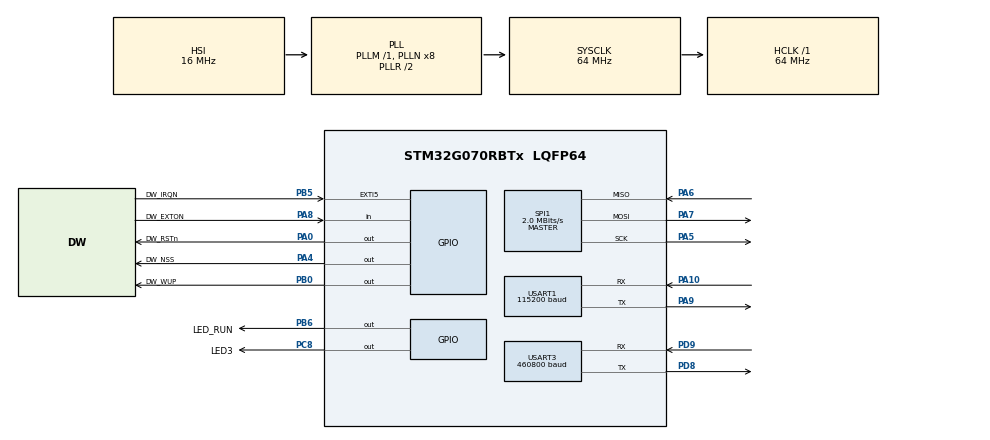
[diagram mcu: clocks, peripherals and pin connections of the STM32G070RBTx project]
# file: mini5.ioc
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Dma.Request0=USART1_TX
Dma.Request1=USART3_TX
Dma.USART1_TX.0.Direction=DMA_MEMORY_TO_PERIPH
Dma.USART1_TX.0.EventEnable=DISABLE
Dma.USART1_TX.0.Instance=DMA1_Channel2
Dma.USART1_TX.0.MemDataAlignment=DMA_MDATAALIGN_BYTE
Dma.USART1_TX.0.MemInc=DMA_MINC_ENABLE
Dma.USART1_TX.0.Mode=DMA_NORMAL
Dma.USART1_TX.0.PeriphDataAlignment=DMA_PDATAALIGN_BYTE
Dma.USART1_TX.0.PeriphInc=DMA_PINC_DISABLE
Dma.USART1_TX.0.Polarity=HAL_DMAMUX_REQ_GEN_RISING
Dma.USART1_TX.0.Priority=DMA_PRIORITY_LOW
Dma.USART1_TX.0.RequestNumber=1
Dma.USART1_TX.0.SignalID=NONE
Dma.USART1_TX.0.SyncEnable=DISABLE
Dma.USART1_TX.0.SyncPolarity=HAL_DMAMUX_SYNC_NO_EVENT
Dma.USART1_TX.0.SyncRequestNumber=1
Dma.USART1_TX.0.SyncSignalID=NONE
Dma.USART3_TX.1.Direction=DMA_MEMORY_TO_PERIPH
Dma.USART3_TX.1.EventEnable=DISABLE
Dma.USART3_TX.1.Instance=DMA1_Channel4
Dma.USART3_TX.1.MemDataAlignment=DMA_MDATAALIGN_BYTE
Dma.USART3_TX.1.MemInc=DMA_MINC_ENABLE
Dma.USART3_TX.1.Mode=DMA_NORMAL
Dma.USART3_TX.1.PeriphDataAlignment=DMA_PDATAALIGN_BYTE
Dma.USART3_TX.1.PeriphInc=DMA_PINC_DISABLE
Dma.USART3_TX.1.Polarity=HAL_DMAMUX_REQ_GEN_RISING
Dma.USART3_TX.1.Priority=DMA_PRIORITY_LOW
Dma.USART3_TX.1.RequestNumber=1
Dma.USART3_TX.1.SignalID=NONE
Dma.USART3_TX.1.SyncEnable=DISABLE
Dma.USART3_TX.1.SyncPolarity=HAL_DMAMUX_SYNC_NO_EVENT
Dma.USART3_TX.1.SyncRequestNumber=1
Dma.USART3_TX.1.SyncSignalID=NONE
IWDG.Prescaler=IWDG_PRESCALER_64
IWDG.Reload=1000
IWDG.Window=1000
Mcu.Family=STM32G0
Mcu.Name=STM32G070RBTx
Mcu.Package=LQFP64
NVIC.DMA1_Ch4_7_DMAMUX1_OVR_IRQn=true\:2\:0\:true\:false\:true\:false\:true
NVIC.DMA1_Channel2_3_IRQn=true\:2\:0\:true\:false\:true\:false\:true
NVIC.EXTI4_15_IRQn=true\:1\:0\:true\:false\:true\:true\:true
NVIC.TIM1_BRK_UP_TRG_COM_IRQn=true\:2\:0\:true\:false\:true\:true\:true
NVIC.TIM1_CC_IRQn=true\:2\:0\:true\:false\:true\:true\:true
NVIC.USART1_IRQn=true\:2\:0\:true\:false\:true\:true\:true
NVIC.USART3_4_IRQn=true\:2\:0\:true\:false\:true\:true\:true
PA0.GPIO_Label=DW_RSTn
PA0.GPIO_Speed=GPIO_SPEED_FREQ_HIGH
PA0.Signal=GPIO_Output
PA10.Mode=Asynchronous
PA10.Signal=USART1_RX
PA13.Mode=Serial_Wire
PA13.Signal=SYS_SWDIO
PA14-BOOT0.Mode=Serial_Wire
PA14-BOOT0.Signal=SYS_SWCLK
PA4.GPIO_Label=DW_NSS
PA4.GPIO_Speed=GPIO_SPEED_FREQ_HIGH
PA4.PinState=GPIO_PIN_SET
PA4.Signal=GPIO_Output
PA5.GPIO_Speed=GPIO_SPEED_FREQ_HIGH
PA5.Mode=Full_Duplex_Master
PA5.PinState=GPIO_PIN_SET
PA5.Signal=SPI1_SCK
PA6.GPIO_Speed=GPIO_SPEED_FREQ_HIGH
PA6.Mode=Full_Duplex_Master
PA6.PinState=GPIO_PIN_SET
PA6.Signal=SPI1_MISO
PA7.GPIO_Speed=GPIO_SPEED_FREQ_HIGH
PA7.Mode=Full_Duplex_Master
PA7.PinState=GPIO_PIN_SET
PA7.Signal=SPI1_MOSI
PA8.GPIO_Label=DW_EXTON
PA8.Signal=GPIO_Input
PA9.Mode=Asynchronous
PA9.Signal=USART1_TX
PB0.GPIO_Label=DW_WUP
PB0.GPIO_Speed=GPIO_SPEED_FREQ_HIGH
PB0.Signal=GPIO_Output
PB5.GPIO_Label=DW_IRQN
PB5.GPIO_ModeDefaultEXTI=GPIO_MODE_IT_RISING
PB5.GPIO_PuPd=GPIO_PULLDOWN
PB5.Signal=GPXTI5
PB6.GPIO_Label=LED_RUN
PB6.GPIO_Speed=GPIO_SPEED_FREQ_MEDIUM
PB6.Signal=GPIO_Output
PC8.GPIO_Label=LED3
PC8.GPIO_Speed=GPIO_SPEED_FREQ_MEDIUM
PC8.Signal=GPIO_Output
PD8.Mode=Asynchronous
PD8.Signal=USART3_TX
PD9.Mode=Asynchronous
PD9.Signal=USART3_RX
ProjectManager.HeapSize=0x200
ProjectManager.StackSize=0x400
ProjectManager.TargetToolchain=MDK-ARM V5.32
RCC.ADCFreq_Value=64000000
RCC.AHBFreq_Value=64000000
RCC.CortexFreq_Value=64000000
RCC.EXTERNAL_CLOCK_VALUE=48000
RCC.HCLKFreq_Value=64000000
RCC.HSE_VALUE=8000000
RCC.HSI_VALUE=16000000
RCC.LSE_VALUE=32768
RCC.SYSCLKFreq_VALUE=64000000
RCC.SYSCLKSource=RCC_SYSCLKSOURCE_PLLCLK
RCC.VCOOutputFreq_Value=128000000
SPI1.BaudRatePrescaler=SPI_BAUDRATEPRESCALER_32
SPI1.CalculateBaudRate=2.0 MBits/s
SPI1.DataSize=SPI_DATASIZE_8BIT
SPI1.Direction=SPI_DIRECTION_2LINES
SPI1.Mode=SPI_MODE_MASTER
SPI1.NSSPMode=SPI_NSS_PULSE_DISABLE
SPI1.VirtualType=VM_MASTER
TIM1.Period=100-1
TIM1.Prescaler=64-1
USART1.BaudRate=115200
USART1.VirtualMode-Asynchronous=VM_ASYNC
USART3.BaudRate=460800
USART3.VirtualMode-Asynchronous=VM_ASYNC
VP_IWDG_VS_IWDG.Mode=IWDG_Activate
VP_SYS_VS_DBSignals.Mode=DisableDeadBatterySignals
VP_TIM1_VS_ClockSourceINT.Mode=Internal
board=custom

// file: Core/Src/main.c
/* USER CODE BEGIN Header */
/**
 ******************************************************************************
 * @file           : main.c
 * @brief          : Main program body
 ******************************************************************************
 * @attention
 *
 * <h2><center>&copy; Copyright (c) 2022 STMicroelectronics.
 * All rights reserved.</center></h2>
 *
 * This software component is licensed by ST under BSD 3-Clause license,
 * the "License"; You may not use this file except in compliance with the
 * License. You may obtain a copy of the License at:
 *                        opensource.org/licenses/BSD-3-Clause
 *
 ******************************************************************************
 */
/* USER CODE END Header */
#include "main.h"

#include "dma.h"
#include "gpio.h"
#include "iwdg.h"
#include "spi.h"
#include "tim.h"
#include "usart.h"

/* USER CODE BEGIN Includes */
#include "deca_device_api.h"
#include "deca_regs.h"
#include "deca_types.h"
#include "instance.h"
#include "port.h"
#include "stdio.h"

/* USER CODE END Includes */

void SystemClock_Config(void);

int main(void) {

    /* MCU Configuration--------------------------------------------------------*/

    /* Reset of all peripherals, Initializes the Flash interface and the Systick. */
    HAL_Init();

    /* Configure the system clock */
    SystemClock_Config();

    /* USER CODE BEGIN SysInit */
    flash_config();
    /* USER CODE END SysInit */

    /* Initialize all configured peripherals */
    MX_GPIO_Init();
    MX_SPI1_Init();
    MX_DMA_Init();
    MX_USART1_UART_Init();
    MX_USART3_UART_Init();
    MX_TIM1_Init();
    // MX_IWDG_Init();
    /* USER CODE BEGIN 2 */

    while (sys_para.flag != 0xAAAA) // 如果值是错的，继续等待，灯闪烁
    {
        HAL_GPIO_WritePin(GPIOB, LED_RUN_Pin, GPIO_PIN_SET);
        HAL_GPIO_WritePin(GPIOC, LED3_Pin, GPIO_PIN_SET);
        HAL_Delay(250);
        HAL_GPIO_WritePin(GPIOB, LED_RUN_Pin, GPIO_PIN_RESET);
        HAL_GPIO_WritePin(GPIOC, LED3_Pin, GPIO_PIN_RESET);
        HAL_Delay(250);
        Process_ATCMD(); // handle AT Command
        Display_ATCMDInfo();
    }
    HAL_GPIO_WritePin(GPIOB, LED_RUN_Pin, GPIO_PIN_SET);
    HAL_GPIO_WritePin(GPIOC, LED3_Pin, GPIO_PIN_SET);
    //	HAL_Delay(1000);
    if (deca_configure() == (-1)) // 初始化DW1000
    {
        HAL_GPIO_WritePin(GPIOB, LED_RUN_Pin, GPIO_PIN_SET); // 若失败
        HAL_GPIO_WritePin(GPIOC, LED3_Pin, GPIO_PIN_SET);
        return (0);
    }
    MAX_TAG_SIZE = sys_para.TAG_NUM;                                                 // 标签个数
    N_Slot = MAX_TAG_SIZE + 1;                                                       // 时间片个数
    T_Slot = sys_para.TAG_SLOT;                                                      // 1个时间片的时间 ms
    T_Round = T_Slot * N_Slot;                                                       // 轮询的总时间
    display_deviceinfo(&sys_para, INFO_VERSION | INFO_ENET | INFO_UWB | INFO_OTHER); // 打印开机信息
    for (int ii = 0; ii < 10; ii++) {
        HAL_GPIO_WritePin(GPIOB, LED_RUN_Pin, GPIO_PIN_SET);
        HAL_GPIO_WritePin(GPIOC, LED3_Pin, GPIO_PIN_SET);
        HAL_Delay(30);
        HAL_GPIO_WritePin(GPIOB, LED_RUN_Pin, GPIO_PIN_RESET);
        HAL_GPIO_WritePin(GPIOC, LED3_Pin, GPIO_PIN_RESET);
        HAL_Delay(30);
    }
    dwt_forcetrxoff();
    port_EnableEXT_IRQ(); // 使能中断
    MX_IWDG_Init();

    HAL_TIM_Base_Start_IT(&htim1);
    /* USER CODE END 2 */

    /* Infinite loop */
    while (1) {

        /* USER CODE BEGIN 3 */
        IWDG_Feed();
        if (ins.nextState == TA_INIT) {
            Process_ATCMD();
        }
        testappruns(MODULE_ROLE);
    }
    /* USER CODE END 3 */
}

void SystemClock_Config(void) {
    RCC_OscInitTypeDef RCC_OscInitStruct = {0};
    RCC_ClkInitTypeDef RCC_ClkInitStruct = {0};
    RCC_PeriphCLKInitTypeDef PeriphClkInit = {0};

    /** Configure the main internal regulator output voltage
     */
    HAL_PWREx_ControlVoltageScaling(PWR_REGULATOR_VOLTAGE_SCALE1);
    /** Initializes the RCC Oscillators according to the specified parameters
     * in the RCC_OscInitTypeDef structure.
     */
    RCC_OscInitStruct.OscillatorType = RCC_OSCILLATORTYPE_HSI | RCC_OSCILLATORTYPE_LSI;
    RCC_OscInitStruct.HSIState = RCC_HSI_ON;
    RCC_OscInitStruct.HSIDiv = RCC_HSI_DIV1;
    RCC_OscInitStruct.HSICalibrationValue = RCC_HSICALIBRATION_DEFAULT;
    RCC_OscInitStruct.LSIState = RCC_LSI_ON;
    RCC_OscInitStruct.PLL.PLLState = RCC_PLL_ON;
    RCC_OscInitStruct.PLL.PLLSource = RCC_PLLSOURCE_HSI;
    RCC_OscInitStruct.PLL.PLLM = RCC_PLLM_DIV1;
    RCC_OscInitStruct.PLL.PLLN = 8;
    RCC_OscInitStruct.PLL.PLLP = RCC_PLLP_DIV2;
    RCC_OscInitStruct.PLL.PLLR = RCC_PLLR_DIV2;
    if (HAL_RCC_OscConfig(&RCC_OscInitStruct) != HAL_OK) {
        Error_Handler();
    }
    /** Initializes the CPU, AHB and APB buses clocks
     */
    RCC_ClkInitStruct.ClockType = RCC_CLOCKTYPE_HCLK | RCC_CLOCKTYPE_SYSCLK | RCC_CLOCKTYPE_PCLK1;
    RCC_ClkInitStruct.SYSCLKSource = RCC_SYSCLKSOURCE_PLLCLK;
    RCC_ClkInitStruct.AHBCLKDivider = RCC_SYSCLK_DIV1;
    RCC_ClkInitStruct.APB1CLKDivider = RCC_HCLK_DIV1;

    if (HAL_RCC_ClockConfig(&RCC_ClkInitStruct, FLASH_LATENCY_2) != HAL_OK) {
        Error_Handler();
    }
    /** Initializes the peripherals clocks
     */
    PeriphClkInit.PeriphClockSelection = RCC_PERIPHCLK_USART1;
    PeriphClkInit.Usart1ClockSelection = RCC_USART1CLKSOURCE_PCLK1;
    if (HAL_RCCEx_PeriphCLKConfig(&PeriphClkInit) != HAL_OK) {
        Error_Handler();
    }
}

void Error_Handler(void) {
    __disable_irq();
    while (1) {
    }
}

/************************ (C) COPYRIGHT STMicroelectronics *****END OF FILE****/
